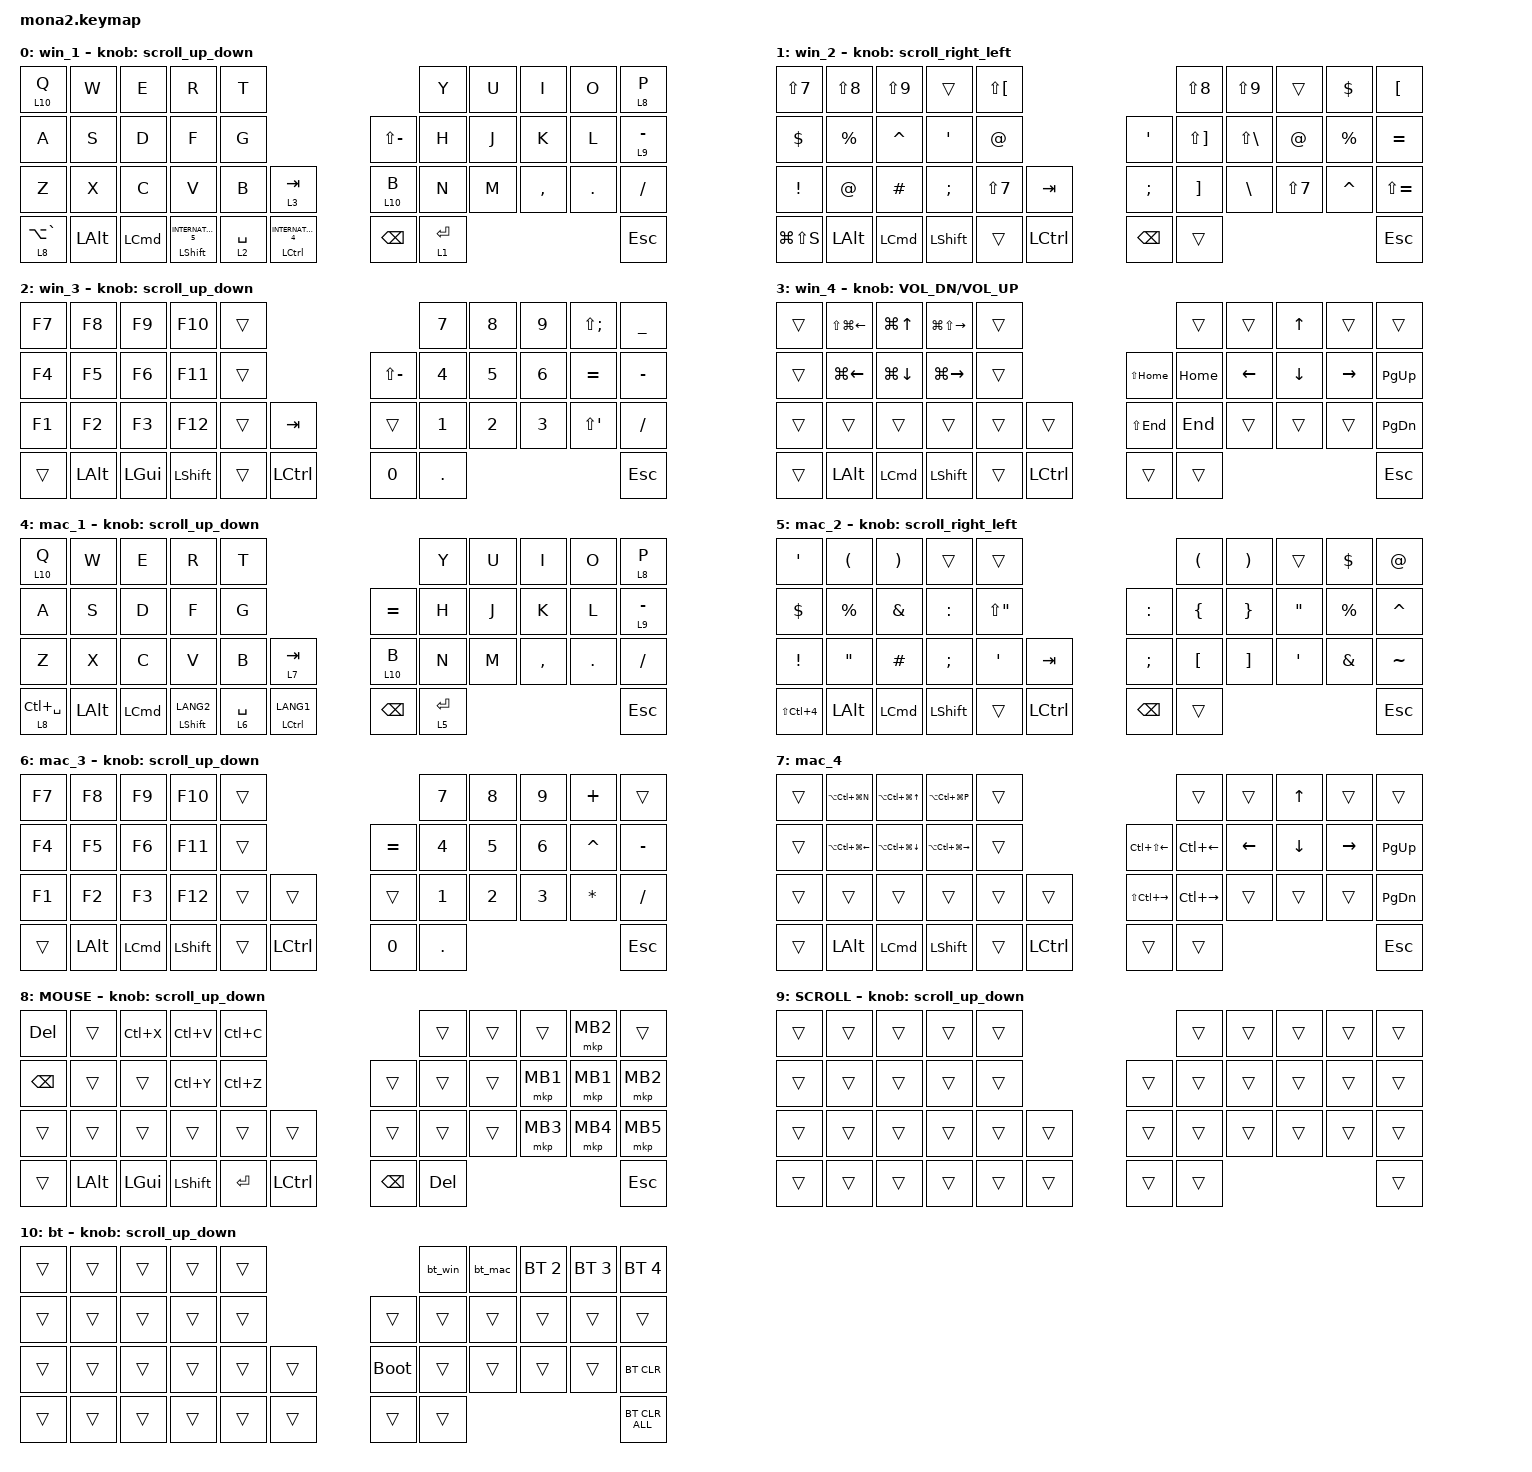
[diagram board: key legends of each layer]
#include <input/processors.dtsi>
#include <dt-bindings/zmk/input_transform.h>
#include <zephyr/dt-bindings/input/input-event-codes.h>
#include <behaviors.dtsi>
#include <dt-bindings/zmk/bt.h>
#include <dt-bindings/zmk/keys.h>
#include <dt-bindings/zmk/pointing.h>

#define ZMK_POINTING_DEFAULT_SCRL_VAL 100
#define MOUSE 8
#define SCROLL 9

&trackball {
    scroll-layers = <9>;
};

&mt {
    flavor = "balanced";
    quick-tap-ms = <0>;
};

&lt {
    quick-tap-ms = <300>;
    flavor = "balanced";
};

/ {
    combos {
        compatible = "zmk,combos";

        layer4_ESC {
            bindings = <&lt 0 ESC>;
            key-positions = <39 38>;
        };

        tab {
            bindings = <&kp TAB>;
            key-positions = <11 12>;
        };
    };

    macros {
        bt_win: bt_win {
            compatible = "zmk,behavior-macro";
            #binding-cells = <0>;
            bindings =
                <&tog_off 0 &tog_off 1 &tog_off 2 &tog_off 3 &tog_off 4 &tog_off 5 &tog_off 6 &tog_off 7>,
                <&macro_wait_time 200>,
                <&bt BT_SEL 0>,
                <&macro_wait_time 500>;

            label = "BT_WIN";
        };

        bt_mac: bt_mac {
            compatible = "zmk,behavior-macro";
            #binding-cells = <0>;
            bindings =
                <&tog_off 0 &tog_off 1 &tog_off 2 &tog_off 3 &tog_off 4 &tog_off 5 &tog_off 6 &tog_off 7>,
                <&macro_wait_time 200>,
                <&bt BT_SEL 1>,
                <&macro_wait_time 500>,
                <&tog_on 4>;

            label = "BT_MAC";
        };
    };

    behaviors {
        tog_on: toggle_layer_on_only {
            compatible = "zmk,behavior-toggle-layer";
            #binding-cells = <1>;
            display-name = "Toggle Layer On";
            toggle-mode = "on";
        };

        tog_off: toggle_layer_off_only {
            compatible = "zmk,behavior-toggle-layer";
            #binding-cells = <1>;
            display-name = "Toggle Layer Off";
            toggle-mode = "off";
        };

        scroll_up_down: mouse_wheel_up_down {
            compatible = "zmk,behavior-sensor-rotate";
            #sensor-binding-cells = <0>;
            bindings = <&msc SCRL_DOWN>, <&msc SCRL_UP>;

            tap-ms = <20>;
        };

        scroll_right_left: mouse_wheel_right_left {
            compatible = "zmk,behavior-sensor-rotate";
            #sensor-binding-cells = <0>;
            bindings = <&msc SCRL_LEFT>, <&msc SCRL_RIGHT>;

            tap-ms = <20>;
        };
    };

    keymap {
        compatible = "zmk,keymap";

        win_1 {
            bindings = <
&lt 10 Q         &kp W         &kp E             &kp R                           &kp T                                                           &kp Y        &kp U  &kp I      &kp O    &lt 8 P
&kp A            &kp S         &kp D             &kp F                           &kp G                                            &kp LS(MINUS)  &kp H        &kp J  &kp K      &kp L    &lt 9 MINUS
&kp Z            &kp X         &kp C             &kp V                           &kp B        &lt 3 TAB                           &lt 10 B       &kp N        &kp M  &kp COMMA  &kp DOT  &kp SLASH
&lt 8 LA(GRAVE)  &kp LEFT_ALT  &kp LEFT_COMMAND  &mt LEFT_SHIFT INTERNATIONAL_5  &lt 2 SPACE  &mt LEFT_CONTROL INTERNATIONAL_4    &kp BACKSPACE  &lt 1 ENTER                             &kp ESCAPE
            >;

            sensor-bindings = <&scroll_up_down>;
        };

        win_2 {
            bindings = <
&kp LS(N7)       &kp LS(N8)    &kp LS(N9)        &trans          &kp LS(LEFT_BRACKET)                                     &kp LS(N8)             &kp LS(N9)         &trans       &kp DOLLAR   &kp LEFT_BRACKET
&kp DOLLAR       &kp PERCENT   &kp CARET         &kp SQT         &kp AT_SIGN                               &kp SQT        &kp LS(RIGHT_BRACKET)  &kp LS(BACKSLASH)  &kp AT_SIGN  &kp PERCENT  &kp EQUAL
&kp EXCLAMATION  &kp AT_SIGN   &kp HASH          &kp SEMICOLON   &kp LS(N7)            &kp TAB             &kp SEMICOLON  &kp RIGHT_BRACKET      &kp BACKSLASH      &kp LS(N7)   &kp CARET    &kp LS(EQUAL)
&kp LG(LS(S))    &kp LEFT_ALT  &kp LEFT_COMMAND  &kp LEFT_SHIFT  &trans                &kp LEFT_CONTROL    &kp BACKSPACE  &trans                                                              &kp ESCAPE
            >;

            sensor-bindings = <&scroll_right_left>;
        };

        win_3 {
            bindings = <
&kp F7  &kp F8    &kp F9    &kp F10    &trans                              &kp N7   &kp N8  &kp N9  &kp LS(SEMICOLON)  &kp UNDERSCORE
&kp F4  &kp F5    &kp F6    &kp F11    &trans               &kp LS(MINUS)  &kp N4   &kp N5  &kp N6  &kp EQUAL          &kp MINUS
&kp F1  &kp F2    &kp F3    &kp F12    &trans  &kp TAB      &trans         &kp N1   &kp N2  &kp N3  &kp LS(SQT)        &kp FSLH
&trans  &kp LALT  &kp LGUI  &kp LSHFT  &trans  &kp LCTRL    &kp N0         &kp DOT                                     &kp ESC
            >;

            sensor-bindings = <&scroll_up_down>;
        };

        win_4 {
            bindings = <
&trans  &kp LS(LG(LEFT))    &kp LG(UP_ARROW)  &kp LG(LS(RIGHT))  &trans                                    &trans    &trans          &kp UP_ARROW    &trans           &trans
&trans  &kp LG(LEFT_ARROW)  &kp LG(DOWN)      &kp LG(RIGHT)      &trans                      &kp LS(HOME)  &kp HOME  &kp LEFT_ARROW  &kp DOWN_ARROW  &kp RIGHT_ARROW  &kp PAGE_UP
&trans  &trans              &trans            &trans             &trans  &trans              &kp LS(END)   &kp END   &trans          &trans          &trans           &kp PAGE_DOWN
&trans  &kp LEFT_ALT        &kp LEFT_COMMAND  &kp LEFT_SHIFT     &trans  &kp LEFT_CONTROL    &trans        &trans                                                     &kp ESCAPE
            >;

            sensor-bindings = <&inc_dec_kp C_VOL_DN C_VOL_UP>;
        };

        mac_1 {
            bindings = <
&lt 10 Q         &kp W     &kp E             &kp R                 &kp T                                             &kp Y        &kp U  &kp I      &kp O    &lt 8 P
&kp A            &kp S     &kp D             &kp F                 &kp G                                  &kp EQUAL  &kp H        &kp J  &kp K      &kp L    &lt 9 MINUS
&kp Z            &kp X     &kp C             &kp V                 &kp B        &lt 7 TAB                 &lt 10 B   &kp N        &kp M  &kp COMMA  &kp DOT  &kp FSLH
&lt 8 LC(SPACE)  &kp LALT  &kp LEFT_COMMAND  &mt LEFT_SHIFT LANG2  &lt 6 SPACE  &mt LEFT_CONTROL LANG1    &kp BSPC   &lt 5 ENTER                             &kp ESC
            >;

            sensor-bindings = <&scroll_up_down>;
        };

        mac_2 {
            bindings = <
&kp SQT               &kp LEFT_PARENTHESIS  &kp RIGHT_PARENTHESIS  &trans          &trans                                                    &kp LEFT_PARENTHESIS  &kp RIGHT_PARENTHESIS  &trans             &kp DOLLAR     &kp AT_SIGN
&kp DOLLAR            &kp PERCENT           &kp AMPERSAND          &kp COLON       &kp LS(DOUBLE_QUOTES)                      &kp COLON      &kp LEFT_BRACE        &kp RIGHT_BRACE        &kp DOUBLE_QUOTES  &kp PERCENT    &kp CARET
&kp EXCLAMATION       &kp DOUBLE_QUOTES     &kp HASH               &kp SEMICOLON   &kp SQT                &kp TAB             &kp SEMICOLON  &kp LEFT_BRACKET      &kp RIGHT_BRACKET      &kp SQT            &kp AMPERSAND  &kp TILDE
&kp LS(LC(NUMBER_4))  &kp LEFT_ALT          &kp LEFT_COMMAND       &kp LEFT_SHIFT  &trans                 &kp LEFT_CONTROL    &kp BACKSPACE  &trans                                                                         &kp ESCAPE
            >;

            sensor-bindings = <&scroll_right_left>;
        };

        mac_3 {
            bindings = <
&kp F7  &kp F8        &kp F9            &kp F10         &trans                                 &kp N7   &kp N8  &kp N9  &kp PLUS      &trans
&kp F4  &kp F5        &kp F6            &kp F11         &trans                      &kp EQUAL  &kp N4   &kp N5  &kp N6  &kp CARET     &kp MINUS
&kp F1  &kp F2        &kp F3            &kp F12         &trans  &trans              &trans     &kp N1   &kp N2  &kp N3  &kp ASTERISK  &kp SLASH
&trans  &kp LEFT_ALT  &kp LEFT_COMMAND  &kp LEFT_SHIFT  &trans  &kp LEFT_CONTROL    &kp N0     &kp DOT                                &kp ESCAPE
            >;

            sensor-bindings = <&scroll_up_down>;
        };

        mac_4 {
            bindings = <
&trans  &kp LA(LC(LG(N)))     &kp LA(LC(LG(UP_ARROW)))  &kp LA(LC(LG(P)))      &trans                                         &trans              &trans    &kp UP_ARROW  &trans     &trans
&trans  &kp LA(LC(LG(LEFT)))  &kp LA(LC(LG(DOWN)))      &kp LA(LC(LG(RIGHT)))  &trans                      &kp LC(LS(LEFT))   &kp LC(LEFT_ARROW)  &kp LEFT  &kp DOWN      &kp RIGHT  &kp PAGE_UP
&trans  &trans                &trans                    &trans                 &trans  &trans              &kp LS(LC(RIGHT))  &kp LC(RIGHT)       &trans    &trans        &trans     &kp PAGE_DOWN
&trans  &kp LEFT_ALT          &kp LEFT_COMMAND          &kp LSHIFT             &trans  &kp LEFT_CONTROL    &trans             &trans                                                 &kp ESCAPE
            >;
        };

        MOUSE {
            bindings = <
&kp DELETE  &trans    &kp LC(X)  &kp LC(V)  &kp LC(C)                         &trans      &trans  &trans    &mkp MB2  &trans
&kp BSPC    &trans    &trans     &kp LC(Y)  &kp LC(Z)               &trans    &trans      &trans  &mkp MB1  &mkp MB1  &mkp MB2
&trans      &trans    &trans     &trans     &trans     &trans       &trans    &trans      &trans  &mkp MB3  &mkp MB4  &mkp MB5
&trans      &kp LALT  &kp LGUI   &kp LSHFT  &kp ENTER  &kp LCTRL    &kp BSPC  &kp DELETE                              &kp ESCAPE
            >;

            sensor-bindings = <&scroll_up_down>;
        };

        SCROLL {
            bindings = <
&trans  &trans  &trans  &trans  &trans                    &trans  &trans  &trans  &trans  &trans
&trans  &trans  &trans  &trans  &trans            &trans  &trans  &trans  &trans  &trans  &trans
&trans  &trans  &trans  &trans  &trans  &trans    &trans  &trans  &trans  &trans  &trans  &trans
&trans  &trans  &trans  &trans  &trans  &trans    &trans  &trans                          &trans
            >;

            sensor-bindings = <&scroll_up_down>;
        };

        bt {
            bindings = <
&trans  &trans  &trans  &trans  &trans                         &bt_win  &bt_mac  &bt BT_SEL 2  &bt BT_SEL 3  &bt BT_SEL 4
&trans  &trans  &trans  &trans  &trans            &trans       &trans   &trans   &trans        &trans        &trans
&trans  &trans  &trans  &trans  &trans  &trans    &bootloader  &trans   &trans   &trans        &trans        &bt BT_CLR
&trans  &trans  &trans  &trans  &trans  &trans    &trans       &trans                                        &bt BT_CLR_ALL
            >;

            sensor-bindings = <&scroll_up_down>;
        };
    };
};
